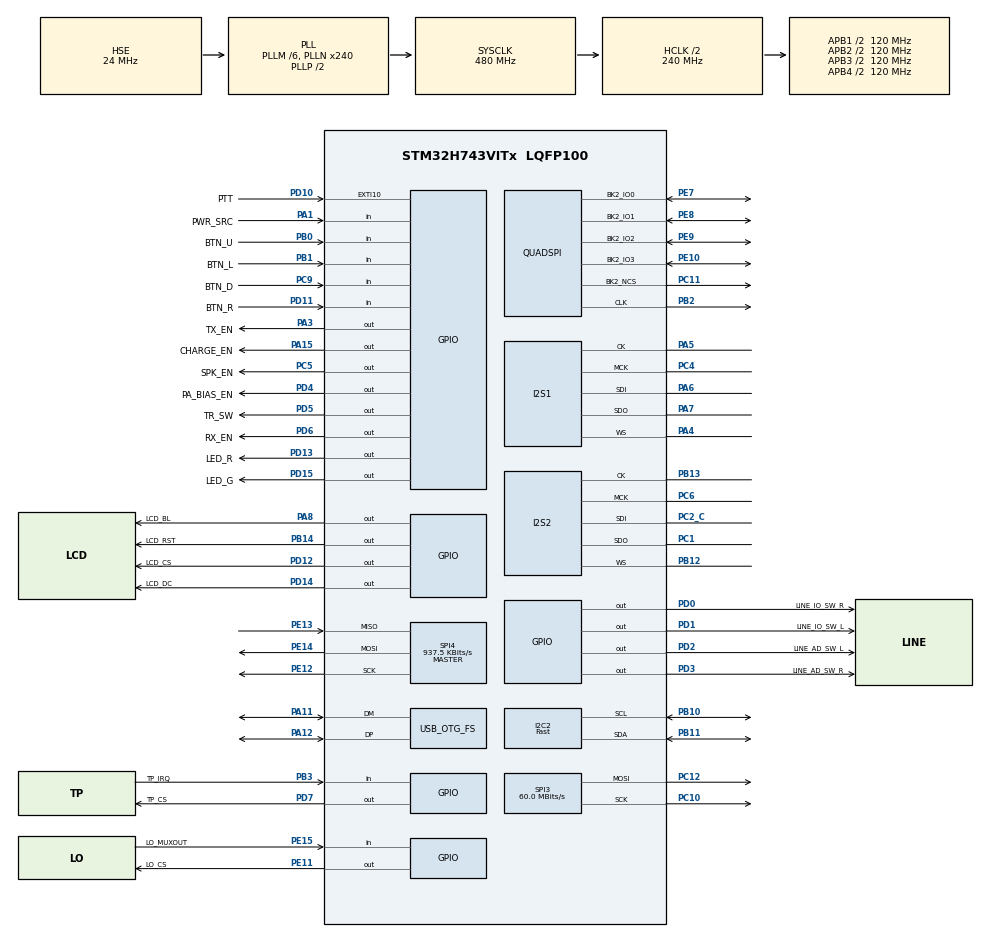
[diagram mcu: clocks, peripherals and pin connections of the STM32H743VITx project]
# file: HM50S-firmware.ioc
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AL94.I-CUBE-USBD-COMPOSITE.1.0.3.CompositeCcUSBJjCOMPOSITEJjCDCIiACM=true
AL94.I-CUBE-USBD-COMPOSITE.1.0.3.CompositeCcUSBJjCOMPOSITEJjCOMPOSITE=true
AL94.I-CUBE-USBD-COMPOSITE.1.0.3.CompositeCcUSBJjCOMPOSITEJjCore=true
AL94.I-CUBE-USBD-COMPOSITE.1.0.3.CompositeCcUSBJjCOMPOSITEJjUACIiMIC=true
AL94.I-CUBE-USBD-COMPOSITE.1.0.3.CompositeCcUSBJjCOMPOSITEJjUACIiSPKR=true
AL94.I-CUBE-USBD-COMPOSITE.1.0.3._USBD_USE_CDC_ACM=true
AL94.I-CUBE-USBD-COMPOSITE.1.0.3._USBD_USE_DFU=false
AL94.I-CUBE-USBD-COMPOSITE.1.0.3._USBD_USE_UAC_MIC=false
AL94.I-CUBE-USBD-COMPOSITE.1.0.3._USBD_USE_UAC_SPKR=false
CORTEX_M7.AccessPermission_S-Cortex_Memory_Protection_Unit_Region1_Settings_S=MPU_REGION_FULL_ACCESS
CORTEX_M7.AccessPermission_Spec=MPU_REGION_FULL_ACCESS
CORTEX_M7.BaseAddress_S-Cortex_Memory_Protection_Unit_Region1_Settings_S=0x30000000
CORTEX_M7.BaseAddress_Spec=0x24000000
CORTEX_M7.CPU_DCache=Enabled
CORTEX_M7.CPU_ICache=Enabled
CORTEX_M7.DisableExec_S-Cortex_Memory_Protection_Unit_Region1_Settings_S=MPU_INSTRUCTION_ACCESS_DISABLE
CORTEX_M7.Enable_S-Cortex_Memory_Protection_Unit_Region1_Settings_S=MPU_REGION_ENABLE
CORTEX_M7.IsBufferable_S-Cortex_Memory_Protection_Unit_Region1_Settings_S=MPU_ACCESS_BUFFERABLE
CORTEX_M7.IsBufferable_Spec=MPU_ACCESS_BUFFERABLE
CORTEX_M7.IsCacheable_S-Cortex_Memory_Protection_Unit_Region1_Settings_S=MPU_ACCESS_CACHEABLE
CORTEX_M7.IsCacheable_Spec=MPU_ACCESS_CACHEABLE
CORTEX_M7.IsShareable_S-Cortex_Memory_Protection_Unit_Region1_Settings_S=MPU_ACCESS_SHAREABLE
CORTEX_M7.Size_S-Cortex_Memory_Protection_Unit_Region1_Settings_S=MPU_REGION_SIZE_512KB
CORTEX_M7.Size_Spec=MPU_REGION_SIZE_512KB
CORTEX_M7.SubRegionDisable_Spec=0x00
CORTEX_M7.default_mode_Activation=1
Dma.Request0=SPI1_RX
Dma.Request1=SPI2_RX
Dma.Request2=SPI2_TX
Dma.Request3=SPI3_TX
Dma.Request4=SPI1_TX
Dma.SPI1_RX.0.Direction=DMA_PERIPH_TO_MEMORY
Dma.SPI1_RX.0.EventEnable=DISABLE
Dma.SPI1_RX.0.FIFOMode=DMA_FIFOMODE_DISABLE
Dma.SPI1_RX.0.Instance=DMA1_Stream0
Dma.SPI1_RX.0.MemDataAlignment=DMA_MDATAALIGN_WORD
Dma.SPI1_RX.0.MemInc=DMA_MINC_ENABLE
Dma.SPI1_RX.0.Mode=DMA_CIRCULAR
Dma.SPI1_RX.0.PeriphDataAlignment=DMA_PDATAALIGN_WORD
Dma.SPI1_RX.0.PeriphInc=DMA_PINC_DISABLE
Dma.SPI1_RX.0.Polarity=HAL_DMAMUX_REQ_GEN_RISING
Dma.SPI1_RX.0.Priority=DMA_PRIORITY_LOW
Dma.SPI1_RX.0.RequestNumber=1
Dma.SPI1_RX.0.SignalID=NONE
Dma.SPI1_RX.0.SyncEnable=DISABLE
Dma.SPI1_RX.0.SyncPolarity=HAL_DMAMUX_SYNC_NO_EVENT
Dma.SPI1_RX.0.SyncRequestNumber=1
Dma.SPI1_RX.0.SyncSignalID=NONE
Dma.SPI1_TX.4.Direction=DMA_MEMORY_TO_PERIPH
Dma.SPI1_TX.4.EventEnable=DISABLE
Dma.SPI1_TX.4.FIFOMode=DMA_FIFOMODE_DISABLE
Dma.SPI1_TX.4.Instance=DMA1_Stream1
Dma.SPI1_TX.4.MemDataAlignment=DMA_MDATAALIGN_WORD
Dma.SPI1_TX.4.MemInc=DMA_MINC_ENABLE
Dma.SPI1_TX.4.Mode=DMA_CIRCULAR
Dma.SPI1_TX.4.PeriphDataAlignment=DMA_PDATAALIGN_WORD
Dma.SPI1_TX.4.PeriphInc=DMA_PINC_DISABLE
Dma.SPI1_TX.4.Polarity=HAL_DMAMUX_REQ_GEN_RISING
Dma.SPI1_TX.4.Priority=DMA_PRIORITY_LOW
Dma.SPI1_TX.4.RequestNumber=1
Dma.SPI1_TX.4.SignalID=NONE
Dma.SPI1_TX.4.SyncEnable=DISABLE
Dma.SPI1_TX.4.SyncPolarity=HAL_DMAMUX_SYNC_NO_EVENT
Dma.SPI1_TX.4.SyncRequestNumber=1
Dma.SPI1_TX.4.SyncSignalID=NONE
Dma.SPI2_RX.1.Direction=DMA_PERIPH_TO_MEMORY
Dma.SPI2_RX.1.EventEnable=DISABLE
Dma.SPI2_RX.1.FIFOMode=DMA_FIFOMODE_DISABLE
Dma.SPI2_RX.1.Instance=DMA1_Stream2
Dma.SPI2_RX.1.MemDataAlignment=DMA_MDATAALIGN_WORD
Dma.SPI2_RX.1.MemInc=DMA_MINC_ENABLE
Dma.SPI2_RX.1.Mode=DMA_CIRCULAR
Dma.SPI2_RX.1.PeriphDataAlignment=DMA_PDATAALIGN_WORD
Dma.SPI2_RX.1.PeriphInc=DMA_PINC_DISABLE
Dma.SPI2_RX.1.Polarity=HAL_DMAMUX_REQ_GEN_RISING
Dma.SPI2_RX.1.Priority=DMA_PRIORITY_LOW
Dma.SPI2_RX.1.RequestNumber=1
Dma.SPI2_RX.1.SignalID=NONE
Dma.SPI2_RX.1.SyncEnable=DISABLE
Dma.SPI2_RX.1.SyncPolarity=HAL_DMAMUX_SYNC_NO_EVENT
Dma.SPI2_RX.1.SyncRequestNumber=1
Dma.SPI2_RX.1.SyncSignalID=NONE
Dma.SPI2_TX.2.Direction=DMA_MEMORY_TO_PERIPH
Dma.SPI2_TX.2.EventEnable=DISABLE
Dma.SPI2_TX.2.FIFOMode=DMA_FIFOMODE_DISABLE
Dma.SPI2_TX.2.Instance=DMA1_Stream3
Dma.SPI2_TX.2.MemDataAlignment=DMA_MDATAALIGN_WORD
Dma.SPI2_TX.2.MemInc=DMA_MINC_ENABLE
Dma.SPI2_TX.2.Mode=DMA_CIRCULAR
Dma.SPI2_TX.2.PeriphDataAlignment=DMA_PDATAALIGN_WORD
Dma.SPI2_TX.2.PeriphInc=DMA_PINC_DISABLE
Dma.SPI2_TX.2.Polarity=HAL_DMAMUX_REQ_GEN_RISING
Dma.SPI2_TX.2.Priority=DMA_PRIORITY_LOW
Dma.SPI2_TX.2.RequestNumber=1
Dma.SPI2_TX.2.SignalID=NONE
Dma.SPI2_TX.2.SyncEnable=DISABLE
Dma.SPI2_TX.2.SyncPolarity=HAL_DMAMUX_SYNC_NO_EVENT
Dma.SPI2_TX.2.SyncRequestNumber=1
Dma.SPI2_TX.2.SyncSignalID=NONE
Dma.SPI3_TX.3.Direction=DMA_MEMORY_TO_PERIPH
Dma.SPI3_TX.3.EventEnable=DISABLE
Dma.SPI3_TX.3.FIFOMode=DMA_FIFOMODE_DISABLE
Dma.SPI3_TX.3.Instance=DMA1_Stream4
Dma.SPI3_TX.3.MemDataAlignment=DMA_MDATAALIGN_HALFWORD
Dma.SPI3_TX.3.MemInc=DMA_MINC_ENABLE
Dma.SPI3_TX.3.Mode=DMA_NORMAL
Dma.SPI3_TX.3.PeriphDataAlignment=DMA_PDATAALIGN_HALFWORD
Dma.SPI3_TX.3.PeriphInc=DMA_PINC_DISABLE
Dma.SPI3_TX.3.Polarity=HAL_DMAMUX_REQ_GEN_RISING
Dma.SPI3_TX.3.Priority=DMA_PRIORITY_LOW
Dma.SPI3_TX.3.RequestNumber=1
Dma.SPI3_TX.3.SignalID=NONE
Dma.SPI3_TX.3.SyncEnable=DISABLE
Dma.SPI3_TX.3.SyncPolarity=HAL_DMAMUX_SYNC_NO_EVENT
Dma.SPI3_TX.3.SyncRequestNumber=1
Dma.SPI3_TX.3.SyncSignalID=NONE
I2C2.I2C_Speed_Mode=I2C_Fast
I2C2.Timing=0x00B03FDB
I2S1.AudioFreq=I2S_AUDIOFREQ_96K
I2S1.Data24BitAlignment=I2S_DATA_24BIT_ALIGNMENT_LEFT
I2S1.DataFormat=I2S_DATAFORMAT_24B
I2S1.ErrorAudioFreq=-2.34 %
I2S1.Instance=SPI$Index
I2S1.RealAudioFreq=93.75 KHz
I2S2.AudioFreq=I2S_AUDIOFREQ_96K
I2S2.Data24BitAlignment=I2S_DATA_24BIT_ALIGNMENT_LEFT
I2S2.DataFormat=I2S_DATAFORMAT_24B
I2S2.ErrorAudioFreq=-2.34 %
I2S2.Instance=SPI$Index
I2S2.RealAudioFreq=93.75 KHz
Mcu.Family=STM32H7
Mcu.Name=STM32H743VITx
Mcu.Package=LQFP100
NVIC.DMA1_Stream0_IRQn=true\:0\:0\:false\:false\:true\:false\:true\:true
NVIC.DMA1_Stream1_IRQn=true\:0\:0\:false\:false\:true\:false\:true\:true
NVIC.DMA1_Stream2_IRQn=true\:0\:0\:false\:false\:true\:false\:true\:true
NVIC.DMA1_Stream3_IRQn=true\:0\:0\:false\:false\:true\:false\:true\:true
NVIC.DMA1_Stream4_IRQn=true\:0\:0\:false\:false\:true\:false\:true\:true
NVIC.EXTI15_10_IRQn=true\:0\:0\:false\:false\:true\:true\:true\:true
NVIC.OTG_FS_IRQn=true\:0\:0\:true\:false\:true\:true\:true\:true
NVIC.PriorityGroup=NVIC_PRIORITYGROUP_4
NVIC.SPI3_IRQn=true\:0\:0\:false\:false\:true\:false\:true\:true
NVIC.TIM4_IRQn=true\:0\:0\:false\:false\:true\:true\:true\:true
PA1.GPIO_Label=PWR_SRC
PA1.GPIO_PuPd=GPIO_PULLUP
PA1.Signal=GPIO_Input
PA11.GPIO_Speed=GPIO_SPEED_FREQ_VERY_HIGH
PA11.Mode=Device_Only
PA11.Signal=USB_OTG_FS_DM
PA12.GPIO_Speed=GPIO_SPEED_FREQ_VERY_HIGH
PA12.Mode=Device_Only
PA12.Signal=USB_OTG_FS_DP
PA13\ (JTMS/SWDIO).Mode=Serial_Wire
PA13\ (JTMS/SWDIO).Signal=DEBUG_JTMS-SWDIO
PA14\ (JTCK/SWCLK).Mode=Serial_Wire
PA14\ (JTCK/SWCLK).Signal=DEBUG_JTCK-SWCLK
PA15\ (JTDI).GPIO_Label=CHARGE_EN
PA15\ (JTDI).GPIO_ModeDefaultOutputPP=GPIO_MODE_OUTPUT_OD
PA15\ (JTDI).GPIO_PuPd=GPIO_NOPULL
PA15\ (JTDI).Signal=GPIO_Output
PA3.GPIO_Label=TX_EN
PA3.Signal=GPIO_Output
PA4.GPIO_Speed=GPIO_SPEED_FREQ_VERY_HIGH
PA4.Mode=Full_Duplex_Master
PA4.Signal=I2S1_WS
PA5.GPIO_Speed=GPIO_SPEED_FREQ_VERY_HIGH
PA5.Mode=Full_Duplex_Master
PA5.Signal=I2S1_CK
PA6.GPIO_Speed=GPIO_SPEED_FREQ_VERY_HIGH
PA6.Mode=Full_Duplex_Master
PA6.Signal=I2S1_SDI
PA7.Mode=Full_Duplex_Master
PA7.Signal=I2S1_SDO
PA8.GPIO_Label=LCD_BL
PA8.Signal=GPIO_Output
PB0.GPIO_Label=BTN_U
PB0.GPIO_PuPd=GPIO_PULLUP
PB0.Signal=GPIO_Input
PB1.GPIO_Label=BTN_L
PB1.GPIO_PuPd=GPIO_PULLUP
PB1.Signal=GPIO_Input
PB10.GPIO_Speed=GPIO_SPEED_FREQ_HIGH
PB10.Mode=I2C
PB10.Signal=I2C2_SCL
PB11.GPIO_Speed=GPIO_SPEED_FREQ_HIGH
PB11.Mode=I2C
PB11.Signal=I2C2_SDA
PB12.GPIO_Speed=GPIO_SPEED_FREQ_VERY_HIGH
PB12.Mode=Full_Duplex_Master
PB12.Signal=I2S2_WS
PB13.GPIO_Speed=GPIO_SPEED_FREQ_VERY_HIGH
PB13.Mode=Full_Duplex_Master
PB13.Signal=I2S2_CK
PB14.GPIO_Label=LCD_RST
PB14.PinState=GPIO_PIN_SET
PB14.Signal=GPIO_Output
PB2.GPIO_Speed=GPIO_SPEED_FREQ_VERY_HIGH
PB2.Mode=Single Bank 2
PB2.Signal=QUADSPI_CLK
PB3\ (JTDO/TRACESWO).GPIO_Label=TP_IRQ
PB3\ (JTDO/TRACESWO).Signal=GPIO_Input
PC1.GPIO_Speed=GPIO_SPEED_FREQ_VERY_HIGH
PC1.Mode=Full_Duplex_Master
PC1.Signal=I2S2_SDO
PC10.GPIO_Speed=GPIO_SPEED_FREQ_VERY_HIGH
PC10.Mode=TX_Only_Simplex_Unidirect_Master
PC10.Signal=SPI3_SCK
PC11.GPIO_Speed=GPIO_SPEED_FREQ_VERY_HIGH
PC11.Mode=Single Bank 2
PC11.Signal=QUADSPI_BK2_NCS
PC12.GPIO_Speed=GPIO_SPEED_FREQ_VERY_HIGH
PC12.Mode=TX_Only_Simplex_Unidirect_Master
PC12.Signal=SPI3_MOSI
PC2_C.GPIO_Speed=GPIO_SPEED_FREQ_VERY_HIGH
PC2_C.Mode=Full_Duplex_Master
PC2_C.Signal=I2S2_SDI
PC4.GPIO_Speed=GPIO_SPEED_FREQ_VERY_HIGH
PC4.Mode=Master_Clock_Activated
PC4.Signal=I2S1_MCK
PC5.GPIO_Label=SPK_EN
PC5.PinState=GPIO_PIN_SET
PC5.Signal=GPIO_Output
PC6.GPIO_Speed=GPIO_SPEED_FREQ_VERY_HIGH
PC6.Mode=Master_Clock_Activated
PC6.Signal=I2S2_MCK
PC9.GPIO_Label=BTN_D
PC9.GPIO_PuPd=GPIO_PULLUP
PC9.Signal=GPIO_Input
PD0.GPIO_Label=LINE_IO_SW_R
PD0.Signal=GPIO_Output
PD1.GPIO_Label=LINE_IO_SW_L
PD1.Signal=GPIO_Output
PD10.GPIO_Label=PTT
PD10.GPIO_ModeDefaultEXTI=GPIO_MODE_IT_RISING_FALLING
PD10.GPIO_PuPd=GPIO_PULLUP
PD10.Signal=GPXTI10
PD11.GPIO_Label=BTN_R
PD11.GPIO_PuPd=GPIO_PULLUP
PD11.Signal=GPIO_Input
PD12.GPIO_Label=LCD_CS
PD12.GPIO_Speed=GPIO_SPEED_FREQ_VERY_HIGH
PD12.PinState=GPIO_PIN_SET
PD12.Signal=GPIO_Output
PD13.GPIO_Label=LED_R
PD13.Signal=GPIO_Output
PD14.GPIO_Label=LCD_DC
PD14.GPIO_Speed=GPIO_SPEED_FREQ_VERY_HIGH
PD14.Signal=GPIO_Output
PD15.GPIO_Label=LED_G
PD15.Signal=GPIO_Output
PD2.GPIO_Label=LINE_AD_SW_L
PD2.Signal=GPIO_Output
PD3.GPIO_Label=LINE_AD_SW_R
PD3.Signal=GPIO_Output
PD4.GPIO_Label=PA_BIAS_EN
PD4.PinState=GPIO_PIN_SET
PD4.Signal=GPIO_Output
PD5.GPIO_Label=TR_SW
PD5.GPIO_ModeDefaultOutputPP=GPIO_MODE_OUTPUT_PP
PD5.GPIO_PuPd=GPIO_NOPULL
PD5.PinState=GPIO_PIN_SET
PD5.Signal=GPIO_Output
PD6.GPIO_Label=RX_EN
PD6.Signal=GPIO_Output
PD7.GPIO_Label=TP_CS
PD7.GPIO_Speed=GPIO_SPEED_FREQ_VERY_HIGH
PD7.PinState=GPIO_PIN_SET
PD7.Signal=GPIO_Output
PE10.GPIO_Speed=GPIO_SPEED_FREQ_VERY_HIGH
PE10.Mode=Single Bank 2
PE10.Signal=QUADSPI_BK2_IO3
PE11.GPIO_Label=LO_CS
PE11.GPIO_Speed=GPIO_SPEED_FREQ_VERY_HIGH
PE11.PinState=GPIO_PIN_SET
PE11.Signal=GPIO_Output
PE12.GPIO_Speed=GPIO_SPEED_FREQ_VERY_HIGH
PE12.Mode=Full_Duplex_Master
PE12.Signal=SPI4_SCK
PE13.GPIO_Speed=GPIO_SPEED_FREQ_VERY_HIGH
PE13.Mode=Full_Duplex_Master
PE13.Signal=SPI4_MISO
PE14.GPIO_Speed=GPIO_SPEED_FREQ_VERY_HIGH
PE14.Mode=Full_Duplex_Master
PE14.Signal=SPI4_MOSI
PE15.GPIO_Label=LO_MUXOUT
PE15.Signal=GPIO_Input
PE7.GPIO_Speed=GPIO_SPEED_FREQ_VERY_HIGH
PE7.Mode=Single Bank 2
PE7.Signal=QUADSPI_BK2_IO0
PE8.GPIO_Speed=GPIO_SPEED_FREQ_VERY_HIGH
PE8.Mode=Single Bank 2
PE8.Signal=QUADSPI_BK2_IO1
PE9.GPIO_Speed=GPIO_SPEED_FREQ_VERY_HIGH
PE9.Mode=Single Bank 2
PE9.Signal=QUADSPI_BK2_IO2
PH0-OSC_IN\ (PH0).Mode=HSE-External-Clock-Source
PH0-OSC_IN\ (PH0).Signal=RCC_OSC_IN
ProjectManager.HeapSize=0x10000
ProjectManager.StackSize=0x10000
ProjectManager.TargetToolchain=CMake
QUADSPI.ChipSelectHighTime=QSPI_CS_HIGH_TIME_7_CYCLE
QUADSPI.ClockPrescaler=2
QUADSPI.FlashSize=24
RCC.ADCFreq_Value=120000000
RCC.APB1Freq_Value=120000000
RCC.APB2Freq_Value=120000000
RCC.APB3Freq_Value=120000000
RCC.APB4Freq_Value=120000000
RCC.CortexFreq_Value=480000000
RCC.D1PPRE=RCC_APB3_DIV2
RCC.D2PPRE1=RCC_APB1_DIV2
RCC.D2PPRE2=RCC_APB2_DIV2
RCC.D3PPRE=RCC_APB4_DIV2
RCC.DIVM1=6
RCC.DIVM2=6
RCC.DIVM3=6
RCC.DIVN1=240
RCC.DIVN2=120
RCC.DIVN3=240
RCC.DIVP2=4
RCC.DIVP3=8
RCC.DIVQ1=20
RCC.DIVQ3=20
RCC.HCLKFreq_Value=240000000
RCC.HPRE=RCC_HCLK_DIV2
RCC.HSE_VALUE=24000000
RCC.HSIDiv=RCC_PLLSAIDIVR_4
RCC.PLLSourceVirtual=RCC_PLLSOURCE_HSE
RCC.SPI123CLockSelection=RCC_SPI123CLKSOURCE_PLL2
RCC.SYSCLKFreq_VALUE=480000000
RCC.SYSCLKSource=RCC_SYSCLKSOURCE_PLLCLK
RCC.USBFreq_Value=48000000
SPI3.BaudRatePrescaler=SPI_BAUDRATEPRESCALER_2
SPI3.CalculateBaudRate=60.0 MBits/s
SPI3.DataSize=SPI_DATASIZE_8BIT
SPI3.Direction=SPI_DIRECTION_2LINES_TXONLY
SPI3.Mode=SPI_MODE_MASTER
SPI3.VirtualType=VM_MASTER
SPI4.BaudRatePrescaler=SPI_BAUDRATEPRESCALER_128
SPI4.CalculateBaudRate=937.5 KBits/s
SPI4.DataSize=SPI_DATASIZE_8BIT
SPI4.Direction=SPI_DIRECTION_2LINES
SPI4.Mode=SPI_MODE_MASTER
SPI4.VirtualType=VM_MASTER
STMicroelectronics.X-CUBE-ALGOBUILD.1.4.0.LibraryCcDSPOoLibraryJjDSPOoLibrary=true
TIM4.Prescaler=240-1
USB_OTG_FS.VirtualMode=Device_Only
USB_OTG_FS.battery_charging_enable=DISABLE
VP_AL94.I-CUBE-USBD-COMPOSITE_VS_USBJjComposite_1.0.0_1.0.3.Mode=USBJjComposite
VP_MEMORYMAP_VS_MEMORYMAP.Mode=CurAppReg
VP_STMicroelectronics.X-CUBE-ALGOBUILD_VS_DSPOoLibraryJjLibrary_1.4.0_1.4.0.Mode=DSPOoLibraryJjLibrary
VP_TIM4_VS_ClockSourceINT.Mode=Internal
board=custom

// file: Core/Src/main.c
/* USER CODE BEGIN Header */
/**
  ******************************************************************************
  * @file           : main.c
  * @brief          : Main program body
  ******************************************************************************
  * @attention
  *
  * Copyright (c) 2025 STMicroelectronics.
  * All rights reserved.
  *
  * This software is licensed under terms that can be found in the LICENSE file
  * in the root directory of this software component.
  * If no LICENSE file comes with this software, it is provided AS-IS.
  *
  ******************************************************************************
  */
/* USER CODE END Header */
#include "main.h"
#include "dma.h"
#include "i2c.h"
#include "i2s.h"
#include "quadspi.h"
#include "spi.h"
#include "tim.h"
#include "usb_otg.h"
#include "gpio.h"

/* USER CODE BEGIN Includes */
#include "usbd_core.h"
#include "usb_device.h"
#include "adau1761.h"
#include "adf4351.h"
#include "tlv320aic3204.h"
#include "hilbert.h"
#include "lvgl.h"
#include "button_control.h"
#include "./src/drivers/display/st7789/lv_st7789.h"
#include "./demos/widgets/lv_demo_widgets.h"
#include "./demos/benchmark/lv_demo_benchmark.h"
#include "lv_port_indev.h"
#include "ui.h"
#include "audio.h"
#include "w25qxx.h"
#include "ina219.h"
/* USER CODE END Includes */

/* USER CODE BEGIN PD */
#define LCD_H_RES       240
#define LCD_V_RES       320
#define BUS_SPI1_POLL_TIMEOUT 0x1000U
/* USER CODE END PD */

/* USER CODE BEGIN PV */
lv_display_t *lcd_disp;
volatile int lcd_bus_busy = 0;

extern volatile uint8_t usb_dtr_state;
extern volatile uint8_t usb_rts_state;
/* USER CODE END PV */

void SystemClock_Config(void);
void PeriphCommonClock_Config(void);
static void MPU_Config(void);
/* USER CODE BEGIN PFP */
void LVGL_Task();
/* USER CODE END PFP */

int main(void)
{

  /* USER CODE BEGIN 1 */
// JumpToBootloader();
  /* USER CODE END 1 */

  /* MPU Configuration--------------------------------------------------------*/
  MPU_Config();

  /* Enable the CPU Cache */

  /* Enable I-Cache---------------------------------------------------------*/
  SCB_EnableICache();

  /* Enable D-Cache---------------------------------------------------------*/
  SCB_EnableDCache();

  /* MCU Configuration--------------------------------------------------------*/

  /* Reset of all peripherals, Initializes the Flash interface and the Systick. */
  HAL_Init();

  /* Configure the system clock */
  SystemClock_Config();

  /* Configure the peripherals common clocks */
  PeriphCommonClock_Config();

  /* Initialize all configured peripherals */
  MX_GPIO_Init();
  MX_DMA_Init();
  MX_I2C2_Init();
  MX_I2S1_Init();
  MX_I2S2_Init();
  MX_QUADSPI_Init();
  MX_SPI3_Init();
  MX_SPI4_Init();
  MX_TIM4_Init();
  MX_USB_OTG_FS_PCD_Init();
  /* USER CODE BEGIN 2 */
  if(HAL_GPIO_ReadPin(BTN_R_GPIO_Port, BTN_R_Pin) == GPIO_PIN_RESET){
    JumpToBootloader();
  }
  adau1761_init();
  MX_USB_DEVICE_Init();
  audio_init();
  adf4351_init();
  codec_init();
  ina219_init_all();
  rfft_init();
  HAL_GPIO_WritePin(LCD_BL_GPIO_Port, LCD_BL_Pin, GPIO_PIN_SET);
  SCB->CCR &= ~(1 << 3);//solves a big problem for lvgl, hardfault otherwise

  RX_EN_GPIO(1);
  rx_i2s_dma_start();
// W25Q_EraseChip();
  LVGL_Task();
  /* USER CODE END 2 */

  /* Infinite loop */
  /* USER CODE BEGIN WHILE */
  while (1)
  {
    // HAL_GPIO_TogglePin(LED_R_GPIO_Port, LED_R_Pin);
    // HAL_Delay(1010);
    lv_timer_handler();

    // if (HAL_GPIO_ReadPin(TP_IRQ_GPIO_Port, TP_IRQ_Pin) == GPIO_PIN_RESET) {
    //     calibration_touch_detected();   // process one calibration touch
    //     while (HAL_GPIO_ReadPin(TP_IRQ_GPIO_Port, TP_IRQ_Pin) == GPIO_PIN_RESET);
    //     HAL_Delay(20);
    //  }

    /* USER CODE END WHILE */

  }
}

void SystemClock_Config(void)
{
  RCC_OscInitTypeDef RCC_OscInitStruct = {0};
  RCC_ClkInitTypeDef RCC_ClkInitStruct = {0};

  /** Supply configuration update enable
  */
  HAL_PWREx_ConfigSupply(PWR_LDO_SUPPLY);

  /** Configure the main internal regulator output voltage
  */
  __HAL_PWR_VOLTAGESCALING_CONFIG(PWR_REGULATOR_VOLTAGE_SCALE0);

  while(!__HAL_PWR_GET_FLAG(PWR_FLAG_VOSRDY)) {}

  /** Initializes the RCC Oscillators according to the specified parameters
  * in the RCC_OscInitTypeDef structure.
  */
  RCC_OscInitStruct.OscillatorType = RCC_OSCILLATORTYPE_HSE;
  RCC_OscInitStruct.HSEState = RCC_HSE_BYPASS;
  RCC_OscInitStruct.PLL.PLLState = RCC_PLL_ON;
  RCC_OscInitStruct.PLL.PLLSource = RCC_PLLSOURCE_HSE;
  RCC_OscInitStruct.PLL.PLLM = 6;
  RCC_OscInitStruct.PLL.PLLN = 240;
  RCC_OscInitStruct.PLL.PLLP = 2;
  RCC_OscInitStruct.PLL.PLLQ = 20;
  RCC_OscInitStruct.PLL.PLLR = 2;
  RCC_OscInitStruct.PLL.PLLRGE = RCC_PLL1VCIRANGE_2;
  RCC_OscInitStruct.PLL.PLLVCOSEL = RCC_PLL1VCOWIDE;
  RCC_OscInitStruct.PLL.PLLFRACN = 0;
  if (HAL_RCC_OscConfig(&RCC_OscInitStruct) != HAL_OK)
  {
    Error_Handler();
  }

  /** Initializes the CPU, AHB and APB buses clocks
  */
  RCC_ClkInitStruct.ClockType = RCC_CLOCKTYPE_HCLK|RCC_CLOCKTYPE_SYSCLK
                              |RCC_CLOCKTYPE_PCLK1|RCC_CLOCKTYPE_PCLK2
                              |RCC_CLOCKTYPE_D3PCLK1|RCC_CLOCKTYPE_D1PCLK1;
  RCC_ClkInitStruct.SYSCLKSource = RCC_SYSCLKSOURCE_PLLCLK;
  RCC_ClkInitStruct.SYSCLKDivider = RCC_SYSCLK_DIV1;
  RCC_ClkInitStruct.AHBCLKDivider = RCC_HCLK_DIV2;
  RCC_ClkInitStruct.APB3CLKDivider = RCC_APB3_DIV2;
  RCC_ClkInitStruct.APB1CLKDivider = RCC_APB1_DIV2;
  RCC_ClkInitStruct.APB2CLKDivider = RCC_APB2_DIV2;
  RCC_ClkInitStruct.APB4CLKDivider = RCC_APB4_DIV2;

  if (HAL_RCC_ClockConfig(&RCC_ClkInitStruct, FLASH_LATENCY_4) != HAL_OK)
  {
    Error_Handler();
  }
}

void PeriphCommonClock_Config(void)
{
  RCC_PeriphCLKInitTypeDef PeriphClkInitStruct = {0};

  /** Initializes the peripherals clock
  */
  PeriphClkInitStruct.PeriphClockSelection = RCC_PERIPHCLK_SPI3|RCC_PERIPHCLK_SPI2
                              |RCC_PERIPHCLK_SPI1;
  PeriphClkInitStruct.PLL2.PLL2M = 6;
  PeriphClkInitStruct.PLL2.PLL2N = 120;
  PeriphClkInitStruct.PLL2.PLL2P = 4;
  PeriphClkInitStruct.PLL2.PLL2Q = 2;
  PeriphClkInitStruct.PLL2.PLL2R = 2;
  PeriphClkInitStruct.PLL2.PLL2RGE = RCC_PLL2VCIRANGE_2;
  PeriphClkInitStruct.PLL2.PLL2VCOSEL = RCC_PLL2VCOWIDE;
  PeriphClkInitStruct.PLL2.PLL2FRACN = 0;
  PeriphClkInitStruct.Spi123ClockSelection = RCC_SPI123CLKSOURCE_PLL2;
  if (HAL_RCCEx_PeriphCLKConfig(&PeriphClkInitStruct) != HAL_OK)
  {
    Error_Handler();
  }
}

/* USER CODE BEGIN 4 */
void lcd_color_transfer_ready_cb(SPI_HandleTypeDef *hspi)
{
        /* CS high */
        HAL_GPIO_WritePin(LCD_CS_GPIO_Port, LCD_CS_Pin, GPIO_PIN_SET);
        lcd_bus_busy = 0;
        lv_display_flush_ready(lcd_disp);
}

/* Initialize LCD I/O bus, reset LCD */
static int32_t lcd_io_init(void)
{
        /* Register SPI Tx Complete Callback */
        HAL_SPI_RegisterCallback(&hspi3, HAL_SPI_TX_COMPLETE_CB_ID, lcd_color_transfer_ready_cb);

        /* reset LCD */
        HAL_GPIO_WritePin(LCD_RST_GPIO_Port, LCD_RST_Pin, GPIO_PIN_RESET);
        HAL_Delay(100);
        HAL_GPIO_WritePin(LCD_RST_GPIO_Port, LCD_RST_Pin, GPIO_PIN_SET);
        HAL_Delay(100);

        HAL_GPIO_WritePin(LCD_CS_GPIO_Port, LCD_CS_Pin, GPIO_PIN_SET);
        HAL_GPIO_WritePin(LCD_DC_GPIO_Port, LCD_DC_Pin, GPIO_PIN_SET);

        return HAL_OK;
}

/* Platform-specific implementation of the LCD send command function. In general this should use polling transfer. */
static void lcd_send_cmd(lv_display_t *disp, const uint8_t *cmd, size_t cmd_size, const uint8_t *param, size_t param_size)
{
        LV_UNUSED(disp);
        while (lcd_bus_busy);   /* wait until previous transfer is finished */
        /* Set the SPI in 8-bit mode */
        hspi3.Init.DataSize = SPI_DATASIZE_8BIT;
        HAL_SPI_Init(&hspi3);
        /* DCX low (command) */
        HAL_GPIO_WritePin(LCD_DC_GPIO_Port, LCD_DC_Pin, GPIO_PIN_RESET);
        /* CS low */
        HAL_GPIO_WritePin(LCD_CS_GPIO_Port, LCD_CS_Pin, GPIO_PIN_RESET);
        /* send command */
        if (HAL_SPI_Transmit(&hspi3, cmd, cmd_size, BUS_SPI1_POLL_TIMEOUT) == HAL_OK) {
                /* DCX high (data) */
                HAL_GPIO_WritePin(LCD_DC_GPIO_Port, LCD_DC_Pin, GPIO_PIN_SET);
                /* for short data blocks we use polling transfer */
                HAL_SPI_Transmit(&hspi3, (uint8_t *)param, (uint16_t)param_size, BUS_SPI1_POLL_TIMEOUT);
                /* CS high */
                HAL_GPIO_WritePin(LCD_CS_GPIO_Port, LCD_CS_Pin, GPIO_PIN_SET);
        }
}

/* Platform-specific implementation of the LCD send color function. For better performance this should use DMA transfer.
 * In case of a DMA transfer a callback must be installed to notify LVGL about the end of the transfer.
 */
static void lcd_send_color(lv_display_t *disp, const uint8_t *cmd, size_t cmd_size, uint8_t *param, size_t param_size)
{
        LV_UNUSED(disp);
        while (lcd_bus_busy);   /* wait until previous transfer is finished */
        /* Set the SPI in 8-bit mode */
        hspi3.Init.DataSize = SPI_DATASIZE_8BIT;
        HAL_SPI_Init(&hspi3);
        /* DCX low (command) */
        HAL_GPIO_WritePin(LCD_DC_GPIO_Port, LCD_DC_Pin, GPIO_PIN_RESET);
        /* CS low */
        HAL_GPIO_WritePin(LCD_CS_GPIO_Port, LCD_CS_Pin, GPIO_PIN_RESET);
        /* send command */
        if (HAL_SPI_Transmit(&hspi3, cmd, cmd_size, BUS_SPI1_POLL_TIMEOUT) == HAL_OK) {
                /* DCX high (data) */
                HAL_GPIO_WritePin(LCD_DC_GPIO_Port, LCD_DC_Pin, GPIO_PIN_SET);
                /* for color data use DMA transfer */
                /* Set the SPI in 16-bit mode to match endianness */
                hspi3.Init.DataSize = SPI_DATASIZE_16BIT;
                HAL_SPI_Init(&hspi3);
                lcd_bus_busy = 1;
          // SCB_CleanInvalidateDCache();
                HAL_SPI_Transmit_DMA(&hspi3, param, (uint16_t)param_size / 2);
                /* NOTE: CS will be reset in the transfer ready callback */
        }
}

void LVGL_Task()
{
  /* Initialize LVGL */
  lv_init();

  /* Initialize LCD I/O */
  if (lcd_io_init() != 0)
    return;

  /* Create the LVGL display object and the LCD display driver */
  lcd_disp = lv_st7789_create(LCD_H_RES, LCD_V_RES, LV_LCD_FLAG_NONE, lcd_send_cmd, lcd_send_color);
  lv_display_set_rotation(lcd_disp, LV_DISPLAY_ROTATION_270);

  /* Allocate draw buffers on the heap. In this example we use two partial buffers of 1/10th size of the screen */
  __attribute__((aligned(4)))
  lv_color_t * buf1 = NULL;
  __attribute__((aligned(4)))
  lv_color_t * buf2 = NULL;

  uint32_t buf_size = LCD_H_RES * LCD_V_RES / 10 * lv_color_format_get_size(lv_display_get_color_format(lcd_disp));

  buf1 = lv_malloc(buf_size);
  if(buf1 == NULL) {
    LV_LOG_ERROR("display draw buffer malloc failed");
    return;
  }

  buf2 = lv_malloc(buf_size);
  if(buf2 == NULL) {
    LV_LOG_ERROR("display buffer malloc failed");
    lv_free(buf1);
    return;
  }
  lv_display_set_buffers(lcd_disp, buf1, buf2, buf_size, LV_DISPLAY_RENDER_MODE_PARTIAL);

  lv_port_indev_init();

  // ui_init(lcd_disp);
  // lv_demo_widgets();
  // start_touch_calibration();
  ui_init();

  // for(;;) {
  //   /* The task running lv_timer_handler should have lower priority than that running `lv_tick_inc` */
  //   lv_timer_handler();
  //   /* raise the task priority of LVGL and/or reduce the handler period can improve the performance */
  //   osDelay(10);
  // }
}

/*---------------------------------------------DFU------------------------------------------*/
#ifndef BOOTLOADER_ADDR
 #define BOOTLOADER_ADDR  ((uint32_t)0x1FF09800U)
#endif

typedef void (*pFunction_t)(void);
pFunction_t BootLoaderResetHandler;

void JumpToBootloader(void)
{
    uint32_t bootAddr;
    uint32_t bootStack;

    /* Read bootloader stack pointer and reset vector from ROM table */
    bootStack = *(__IO uint32_t*) (BOOTLOADER_ADDR);         /* initial MSP from ROM */
    bootAddr  = *(__IO uint32_t*) (BOOTLOADER_ADDR + 4U);    /* reset handler address */

    /* Basic sanity check: ensure bootAddr not 0xFFFFFFFF or zero */
    // if ((bootAddr == 0xFFFFFFFFU) || (bootAddr == 0U)) {
    //     /* Boot address invalid — abort jump */
    //     return;
    // }

    HAL_MPU_Disable();

    __disable_irq();

    // Enable SYSCFG and remap system memory to 0x00000000
    // __HAL_RCC_SYSCFG_CLK_ENABLE();
    // SYSCFG->MEMRMP = 0x01;

    HAL_RCC_DeInit();

    /* Disable SysTick */
    SysTick->CTRL = 0;
    SysTick->LOAD = 0;
    SysTick->VAL  = 0;

    SCB_CleanDCache();
    SCB_DisableICache();
    SCB_DisableDCache();

    /* Disable all interrupts in NVIC */
    for (uint32_t i = 0; i < 8; ++i) {
        NVIC->ICER[i] = 0xFFFFFFFFU; /* disable IRQs */
        NVIC->ICPR[i] = 0xFFFFFFFFU; /* clear pending */
    }

    HAL_DeInit();

    __enable_irq();

    /* Set main stack pointer to bootloader stack */

    BootLoaderResetHandler = (pFunction_t) bootAddr;

    __set_MSP(bootStack);

    __set_CONTROL(0);

    /* Jump to bootloader reset handler */
    BootLoaderResetHandler();

    /* Should never return here */
    while (1) { }
}
/* USER CODE END 4 */

 /* MPU Configuration */

void MPU_Config(void)
{
  MPU_Region_InitTypeDef MPU_InitStruct = {0};

  /* Disables the MPU */
  HAL_MPU_Disable();

  /** Initializes and configures the Region and the memory to be protected
  */
  MPU_InitStruct.Enable = MPU_REGION_ENABLE;
  MPU_InitStruct.Number = MPU_REGION_NUMBER0;
  MPU_InitStruct.BaseAddress = 0x24000000;
  MPU_InitStruct.Size = MPU_REGION_SIZE_512KB;
  MPU_InitStruct.SubRegionDisable = 0x00;
  MPU_InitStruct.TypeExtField = MPU_TEX_LEVEL0;
  MPU_InitStruct.AccessPermission = MPU_REGION_FULL_ACCESS;
  MPU_InitStruct.DisableExec = MPU_INSTRUCTION_ACCESS_DISABLE;
  MPU_InitStruct.IsShareable = MPU_ACCESS_SHAREABLE;
  MPU_InitStruct.IsCacheable = MPU_ACCESS_CACHEABLE;
  MPU_InitStruct.IsBufferable = MPU_ACCESS_BUFFERABLE;

  HAL_MPU_ConfigRegion(&MPU_InitStruct);

  /** Initializes and configures the Region and the memory to be protected
  */
  MPU_InitStruct.Number = MPU_REGION_NUMBER1;
  MPU_InitStruct.BaseAddress = 0x30000000;
  MPU_InitStruct.SubRegionDisable = 0x0;

  HAL_MPU_ConfigRegion(&MPU_InitStruct);
  /* Enables the MPU */
  HAL_MPU_Enable(MPU_PRIVILEGED_DEFAULT);

}

void Error_Handler(void)
{
  __disable_irq();
  while (1)
  {
  }
}
